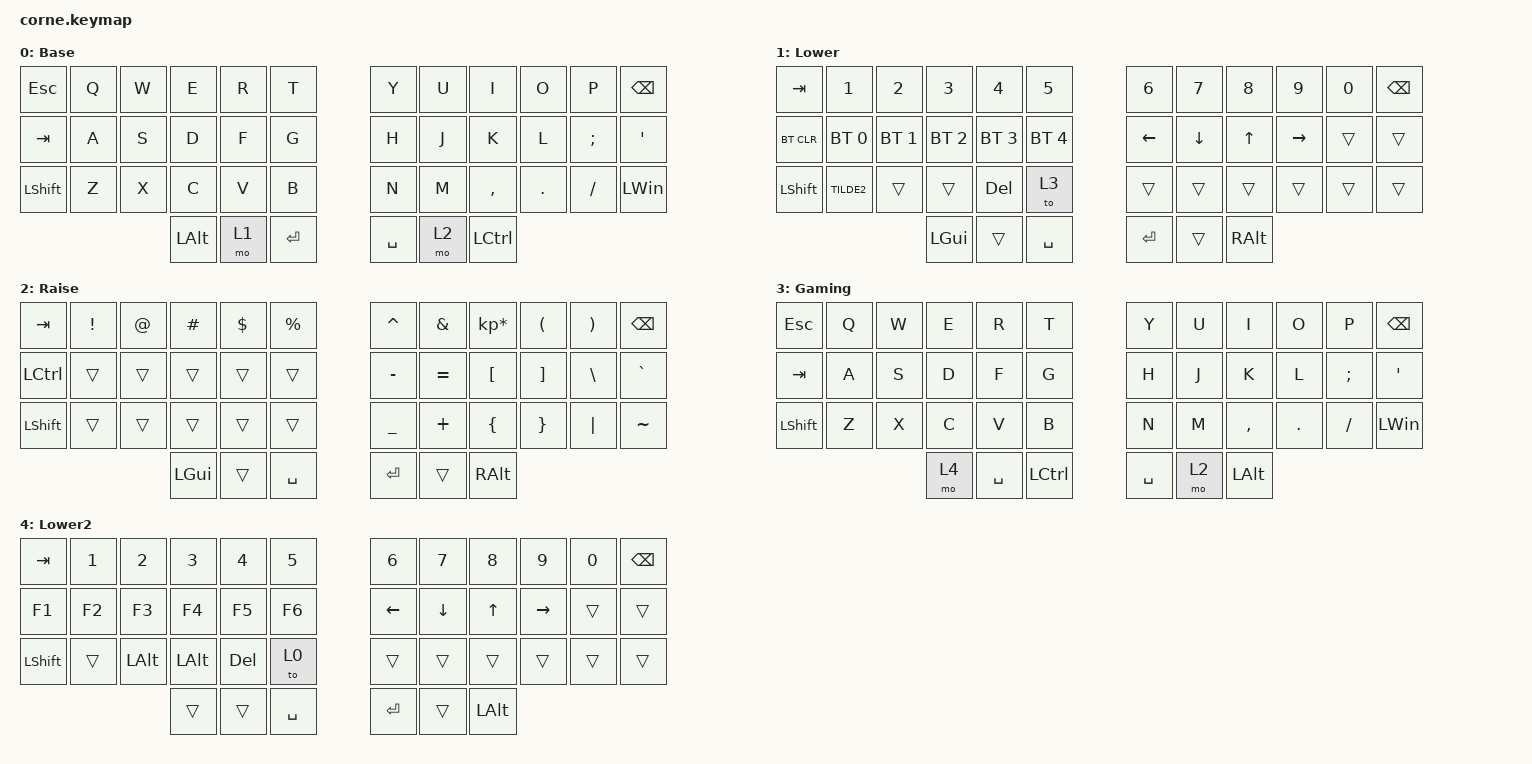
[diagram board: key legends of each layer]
/*
 * Copyright (c) 2020 The ZMK Contributors
 *
 * SPDX-License-Identifier: MIT
 */

#include <behaviors.dtsi>
#include <dt-bindings/zmk/bt.h>
#include <dt-bindings/zmk/keys.h>

/ {
    keymap {
        compatible = "zmk,keymap";

        default_layer {
            // -----------------------------------------------------------------------------------------
            // |  TAB |  Q  |  W  |  E  |  R  |  T  |   |  Y  |  U   |  I  |  O  |  P  | BKSP |
            // | CTRL |  A  |  S  |  D  |  F  |  G  |   |  H  |  J   |  K  |  L  |  ;  |  '   |
            // | SHFT |  Z  |  X  |  C  |  V  |  B  |   |  N  |  M   |  ,  |  .  |  /  | ESC  |
            //                    | GUI | LWR | SPC |   | ENT | RSE  | ALT |

            display-name = "Base";
            bindings = <
&kp ESCAPE      &kp Q  &kp W  &kp E         &kp R  &kp T        &kp Y      &kp U  &kp I             &kp O    &kp P     &kp BSPC
&kp TAB         &kp A  &kp S  &kp D         &kp F  &kp G        &kp H      &kp J  &kp K             &kp L    &kp SEMI  &kp SQT
&kp LEFT_SHIFT  &kp Z  &kp X  &kp C         &kp V  &kp B        &kp N      &kp M  &kp COMMA         &kp DOT  &kp FSLH  &kp LEFT_WIN
                              &kp LEFT_ALT  &mo 1  &kp ENTER    &kp SPACE  &mo 2  &kp LEFT_CONTROL
            >;
        };

        lower_layer {
            // -----------------------------------------------------------------------------------------
            // |  TAB |  1  |  2  |  3  |  4  |  5  |   |  6  |  7  |  8  |  9  |  0  | BKSP |
            // | BTCLR| BT1 | BT2 | BT3 | BT4 | BT5 |   | LFT | DWN |  UP | RGT |     |      |
            // | SHFT |     |     |     |     |     |   |     |     |     |     |     |      |
            //                    | GUI |     | SPC |   | ENT |     | ALT |

            display-name = "Lower";
            bindings = <
&kp TAB     &kp N1        &kp N2        &kp N3        &kp N4        &kp N5          &kp N6    &kp N7    &kp N8    &kp N9     &kp N0  &kp BSPC
&bt BT_CLR  &bt BT_SEL 0  &bt BT_SEL 1  &bt BT_SEL 2  &bt BT_SEL 3  &bt BT_SEL 4    &kp LEFT  &kp DOWN  &kp UP    &kp RIGHT  &trans  &trans
&kp LSHFT   &kp TILDE2    &trans        &trans        &kp DELETE    &to 3           &trans    &trans    &trans    &trans     &trans  &trans
                                        &kp LGUI      &trans        &kp SPACE       &kp RET   &trans    &kp RALT
            >;
        };

        raise_layer {
            // -----------------------------------------------------------------------------------------
            // |  TAB |  !  |  @  |  #  |  $  |  %  |   |  ^  |  &  |  *  |  (  |  )  | BKSP |
            // | CTRL |     |     |     |     |     |   |  -  |  =  |  [  |  ]  |  \  |  `   |
            // | SHFT |     |     |     |     |     |   |  _  |  +  |  {  |  }  | "|" |  ~   |
            //                    | GUI |     | SPC |   | ENT |     | ALT |

            display-name = "Raise";
            bindings = <
&kp TAB    &kp EXCL  &kp AT  &kp HASH  &kp DLLR  &kp PRCNT    &kp CARET  &kp AMPS   &kp KP_MULTIPLY  &kp LPAR  &kp RPAR  &kp BSPC
&kp LCTRL  &trans    &trans  &trans    &trans    &trans       &kp MINUS  &kp EQUAL  &kp LBKT         &kp RBKT  &kp BSLH  &kp GRAVE
&kp LSHFT  &trans    &trans  &trans    &trans    &trans       &kp UNDER  &kp PLUS   &kp LBRC         &kp RBRC  &kp PIPE  &kp TILDE
                             &kp LGUI  &trans    &kp SPACE    &kp RET    &trans     &kp RALT
            >;
        };

        gaming_layer {
            display-name = "Gaming";
            bindings = <
&kp ESCAPE      &kp Q  &kp W  &kp E  &kp R      &kp T               &kp Y      &kp U  &kp I         &kp O    &kp P     &kp BSPC
&kp TAB         &kp A  &kp S  &kp D  &kp F      &kp G               &kp H      &kp J  &kp K         &kp L    &kp SEMI  &kp SQT
&kp LEFT_SHIFT  &kp Z  &kp X  &kp C  &kp V      &kp B               &kp N      &kp M  &kp COMMA     &kp DOT  &kp FSLH  &kp LEFT_WIN
                              &mo 4  &kp SPACE  &kp LEFT_CONTROL    &kp SPACE  &mo 2  &kp LEFT_ALT
            >;
        };

        layer_7 {
            display-name = "Lower2";
            bindings = <
&kp TAB    &kp N1  &kp N2        &kp N3        &kp N4      &kp N5       &kp N6    &kp N7    &kp N8        &kp N9     &kp N0  &kp BSPC
&kp F1     &kp F2  &kp F3        &kp F4        &kp F5      &kp F6       &kp LEFT  &kp DOWN  &kp UP        &kp RIGHT  &trans  &trans
&kp LSHFT  &trans  &kp LEFT_ALT  &kp LEFT_ALT  &kp DELETE  &to 0        &trans    &trans    &trans        &trans     &trans  &trans
                                 &trans        &trans      &kp SPACE    &kp RET   &trans    &kp LEFT_ALT
            >;
        };

        extra_1 { status = "reserved"; };

        extra_2 { status = "reserved"; };

        extra_3 { status = "reserved"; };
    };
};
